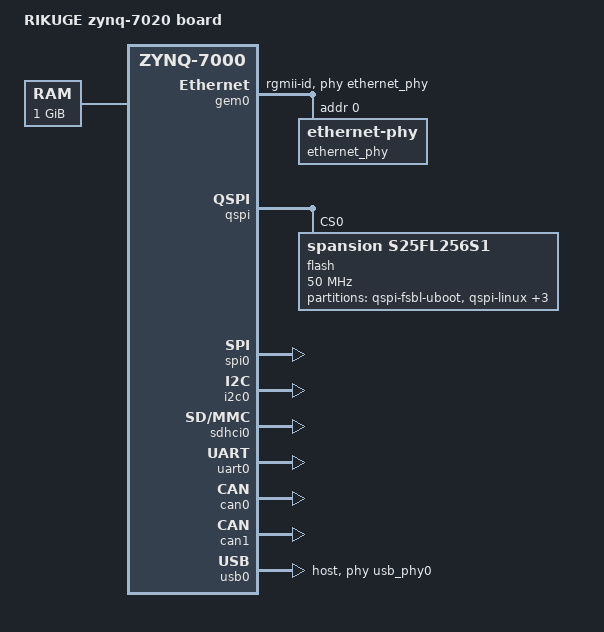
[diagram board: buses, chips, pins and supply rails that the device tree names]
// SPDX-License-Identifier: GPL-2.0+
/*
 *  Copyright (C) 2011 - 2015 Xilinx
 *  Copyright (C) 2012 National Instruments Corp.
 */
/dts-v1/;
#include "zynq-7000.dtsi"

/ {
	model = "RIKUGE zynq-7020 board";
	compatible = "xlnx,zynq-7000";

	aliases {
		ethernet0 = &gem0;
		serial0 = &uart0;
		i2c0 = &i2c0;
		mmc0 = &sdhci0;
	};

	memory@0 {
		device_type = "memory";
		reg = <0x0 0x40000000>;
	};

	chosen {
		bootargs = "";
		stdout-path = "serial0:115200n8";
	};

	usb_phy0: phy0@e0002000 {
		compatible = "ulpi-phy";
		#phy-cells = <0>;
		reg = <0xe0002000 0x1000>;
		view-port = <0x0170>;
		drv-vbus;
	};
};

&clkc {
	ps-clk-frequency = <33333333>;
};

&gem0 {
	status = "okay";
	phy-mode = "rgmii-id";
	phy-handle = <&ethernet_phy>;

	ethernet_phy: ethernet-phy@0 {
		reg = <0>;
	};
};

&qspi {
	bootph-all;
	status = "okay";
	num-cs = <1>;
	flash@0 {
		compatible = "spansion,s25fl256s1", "jedec,spi-nor";
		reg = <0>;
		spi-tx-bus-width = <1>;
		spi-rx-bus-width = <4>;
		spi-max-frequency = <50000000>;
		m25p,fast-read;
		partitions {
			compatible = "fixed-partitions";
			#address-cells = <1>;
			#size-cells = <1>;
			partition@0 {
				label = "qspi-fsbl-uboot";
				reg = <0x0 0x100000>;
			};
			partition@100000 {
				label = "qspi-linux";
				reg = <0x100000 0x500000>;
			};
			partition@600000 {
				label = "qspi-device-tree";
				reg = <0x600000 0x20000>;
			};
			partition@620000 {
				label = "qspi-rootfs";
				reg = <0x620000 0x5e0000>;
			};
			partition@c00000 {
				label = "qspi-bitstream";
				reg = <0xc00000 0x400000>;
			};
		};
	};
};

&spi0 {
	status = "okay";
};

&i2c0 {
	status = "okay";
};

&sdhci0 {
	bootph-all;
	status = "okay";
};

&uart0 {
	bootph-all;
	status = "okay";
};

&can0 {
	status = "okay";
};

&can1 {
	status = "okay";
};

&usb0 {
	status = "okay";
	dr_mode = "host";
	usb-phy = <&usb_phy0>;
};
